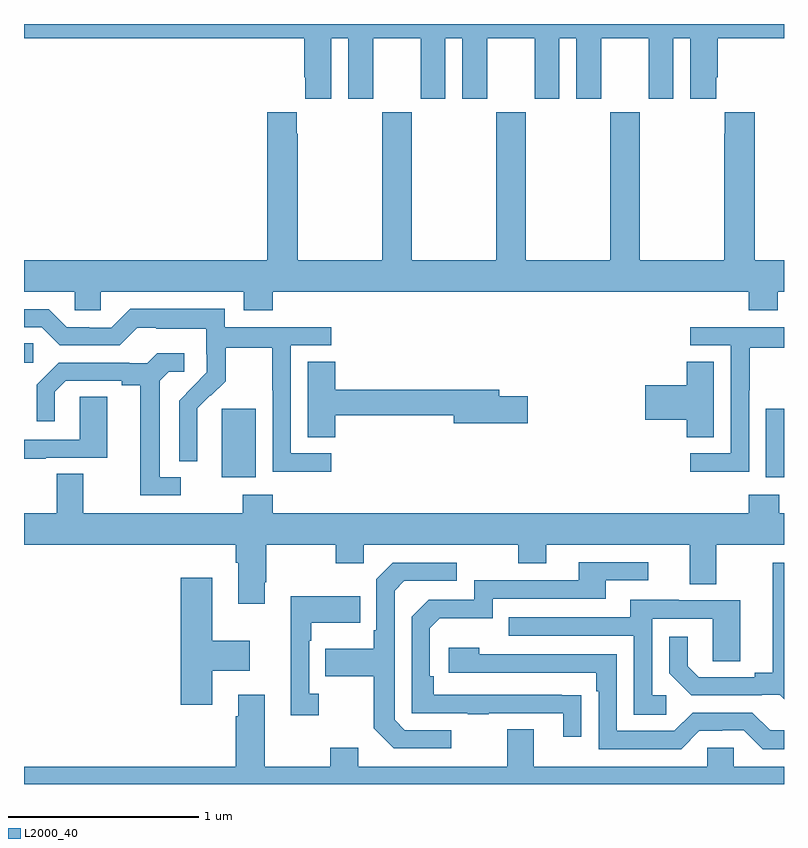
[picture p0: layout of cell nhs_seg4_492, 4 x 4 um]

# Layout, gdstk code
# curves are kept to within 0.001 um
import gdstk
lib = gdstk.Library(unit=1e-6, precision=1e-09)
def R(c, l, rs):  # rectangles x0, y0, x1, y1
    for r in rs: c.add(gdstk.rectangle(r[:2], r[2:], *l))
def P(c, l, *ps):  # polygons
    for p in ps: c.add(gdstk.Polygon(p, *l))
L2000_40 = (2000, 40)

nhs_seg4_492 = lib.new_cell('nhs_seg4_492')
R(nhs_seg4_492, L2000_40, [(136.04,790.514,136.219,790.875), (138.905,790.514,139,790.875), (135,791.118,135.049,791.219)])
P(nhs_seg4_492, L2000_40, [(135,792.824),(136.475,792.824),(136.475,792.619),(136.481,792.619),(136.481,792.507),(136.618,792.507),(136.618,792.824),(136.706,792.824),(136.706,792.507),(136.837,792.507),(136.837,792.824),(137.087,792.824),(137.087,792.507),(137.218,792.507),(137.218,792.824),(137.306,792.824),(137.306,792.507),(137.437,792.507),(137.437,792.824),(137.687,792.824),(137.687,792.507),(137.818,792.507),(137.818,792.824),(137.906,792.824),(137.906,792.507),(138.037,792.507),(138.037,792.824),(138.287,792.824),(138.287,792.507),(138.418,792.507),(138.418,792.824),(138.506,792.824),(138.506,792.507),(138.643,792.507),(138.643,792.619),(138.65,792.619),(138.65,792.824),(139,792.824),(139,792.9),(135,792.9)],
  [(136.31,791.492),(138.815,791.492),(138.815,791.393),(138.967,791.393),(138.967,791.492),(139,791.492),(139,791.656),(138.845,791.656),(138.845,792.436),(138.689,792.436),(138.689,792.323),(138.685,792.323),(138.685,791.656),(138.24,791.656),(138.24,792.436),(138.085,792.436),(138.085,791.656),(137.64,791.656),(137.64,792.436),(137.485,792.436),(137.485,791.656),(137.04,791.656),(137.04,792.436),(136.885,792.436),(136.885,791.656),(136.44,791.656),(136.44,792.323),(136.435,792.323),(136.435,792.436),(136.28,792.436),(136.28,791.656),(135,791.656),(135,791.492),(135.267,791.492),(135.267,791.394),(135.405,791.394),(135.405,791.492),(136.157,791.492),(136.157,791.393),(136.31,791.393)],
  [(136.618,790.641),(136.404,790.641),(136.404,791.208),(136.618,791.208),(136.618,791.304),(136.056,791.304),(136.056,791.401),(135.559,791.401),(135.459,791.301),(135.344,791.301),(135.344,791.304),(135.225,791.304),(135.129,791.4),(135,791.4),(135,791.304),(135.093,791.304),(135.189,791.208),(135.504,791.208),(135.597,791.301),(135.697,791.301),(135.697,791.297),(135.96,791.297),(135.96,791.163),(135.962,791.163),(135.962,791.066),(135.816,790.918),(135.816,790.6),(135.912,790.6),(135.911,790.877),(135.981,790.947),(135.984,790.944),(136.061,791.021),(136.061,791.196),(136.306,791.196),(136.306,790.972),(136.308,790.972),(136.308,790.543),(136.618,790.543)],
  [(138.816,790.972),(138.819,790.972),(138.819,791.196),(139,791.196),(139,791.304),(138.507,791.304),(138.507,791.208),(138.72,791.208),(138.72,790.641),(138.507,790.641),(138.507,790.543),(138.816,790.543)],
  [(135.826,790.515),(135.715,790.515),(135.715,791.023),(135.762,791.07),(135.844,791.07),(135.844,791.167),(135.7,791.167),(135.648,791.115),(135.554,791.115),(135.554,791.118),(135.182,791.118),(135.066,791.002),(135.066,790.809),(135.163,790.809),(135.163,790.965),(135.22,791.022),(135.515,791.022),(135.515,791),(135.611,791),(135.611,790.419),(135.826,790.419)],
  [(136.637,790.84),(137.261,790.84),(137.261,790.798),(137.65,790.798),(137.65,790.94),(137.5,790.94),(137.5,790.976),(136.637,790.976),(136.637,791.123),(136.493,791.123),(136.493,790.726),(136.637,790.726)],
  [(138.631,791.123),(138.488,791.123),(138.488,791),(138.27,791),(138.27,790.817),(138.488,790.817),(138.488,790.726),(138.631,790.726)],
  [(135.115,790.617),(135.439,790.617),(135.439,790.937),(135.294,790.937),(135.294,790.713),(135,790.713),(135,790.613),(135.115,790.613)],
  [(136.267,789.961),(136.275,789.961),(136.275,790.16),(136.642,790.16),(136.642,790.061),(136.788,790.061),(136.788,790.16),(137.602,790.16),(137.602,790.061),(137.749,790.061),(137.749,790.16),(138.503,790.16),(138.503,789.952),(138.643,789.952),(138.643,790.16),(139,790.16),(139,790.324),(138.975,790.324),(138.975,790.423),(138.815,790.423),(138.815,790.324),(136.31,790.324),(136.31,790.423),(136.15,790.423),(136.15,790.324),(135.313,790.324),(135.313,790.532),(135.173,790.532),(135.173,790.324),(135,790.324),(135,790.16),(136.115,790.16),(136.115,790.064),(136.127,790.064),(136.127,789.849),(136.267,789.849)],
  [(137.933,789.368),(137.156,789.369),(137.156,789.466),(137.136,789.466),(137.136,789.72),(137.189,789.773),(137.466,789.773),(137.466,789.876),(138.061,789.876),(138.061,789.972),(138.286,789.972),(138.286,790.068),(137.921,790.068),(137.921,789.972),(137.37,789.972),(137.37,789.87),(137.13,789.87),(137.04,789.78),(137.04,789.273),(137.335,789.273),(137.335,789.268),(137.447,789.268),(137.447,789.273),(137.837,789.273),(137.837,789.15),(137.933,789.15)],
  [(139,790.065),(138.941,790.065),(138.941,789.485),(138.845,789.485),(138.845,789.462),(138.55,789.462),(138.493,789.519),(138.493,789.676),(138.396,789.676),(138.396,789.482),(138.512,789.366),(138.884,789.366),(138.884,789.369),(138.978,789.369),(139,789.347)],
  [(137.248,789.183),(137.004,789.183),(136.95,789.237),(136.95,789.918),(137.001,789.969),(137.278,789.969),(137.278,790.065),(136.941,790.065),(136.854,789.978),(136.854,789.709),(136.842,789.709),(136.842,789.613),(136.585,789.613),(136.585,789.466),(136.842,789.466),(136.842,789.193),(136.947,789.087),(137.248,789.087)],
  [(135.991,789.497),(136.189,789.497),(136.189,789.655),(135.991,789.655),(135.991,789.985),(135.824,789.985),(135.824,789.318),(135.991,789.318)],
  [(136.552,789.374),(136.5,789.374),(136.5,789.653),(136.513,789.653),(136.513,789.749),(136.769,789.749),(136.769,789.889),(136.403,789.889),(136.403,789.261),(136.552,789.261)],
  [(138.379,789.366),(138.306,789.366),(138.306,789.771),(138.624,789.771),(138.624,789.547),(138.769,789.547),(138.769,789.867),(138.445,789.867),(138.445,789.871),(138.191,789.871),(138.191,789.777),(137.551,789.777),(137.551,789.681),(138.21,789.681),(138.21,789.265),(138.379,789.265)],
  [(139,789.183),(138.927,789.183),(138.834,789.276),(138.519,789.276),(138.423,789.18),(138.12,789.18),(138.12,789.582),(137.396,789.582),(137.396,789.616),(137.235,789.616),(137.235,789.486),(138.011,789.486),(138.011,789.389),(138.024,789.389),(138.024,789.084),(138.459,789.084),(138.555,789.18),(138.674,789.18),(138.674,789.183),(138.789,789.183),(138.889,789.083),(139,789.083)],
  [(139,788.992),(138.735,788.992),(138.735,789.09),(138.597,789.09),(138.597,788.992),(137.683,788.992),(137.683,789.187),(137.543,789.187),(137.543,788.992),(136.759,788.992),(136.759,789.091),(136.612,789.091),(136.612,788.992),(136.267,788.992),(136.267,789.37),(136.127,789.37),(136.127,789.257),(136.115,789.257),(136.115,788.992),(135,788.992),(135,788.9),(139,788.9)])

lib.write_gds('nhs_seg4_492.gds')
